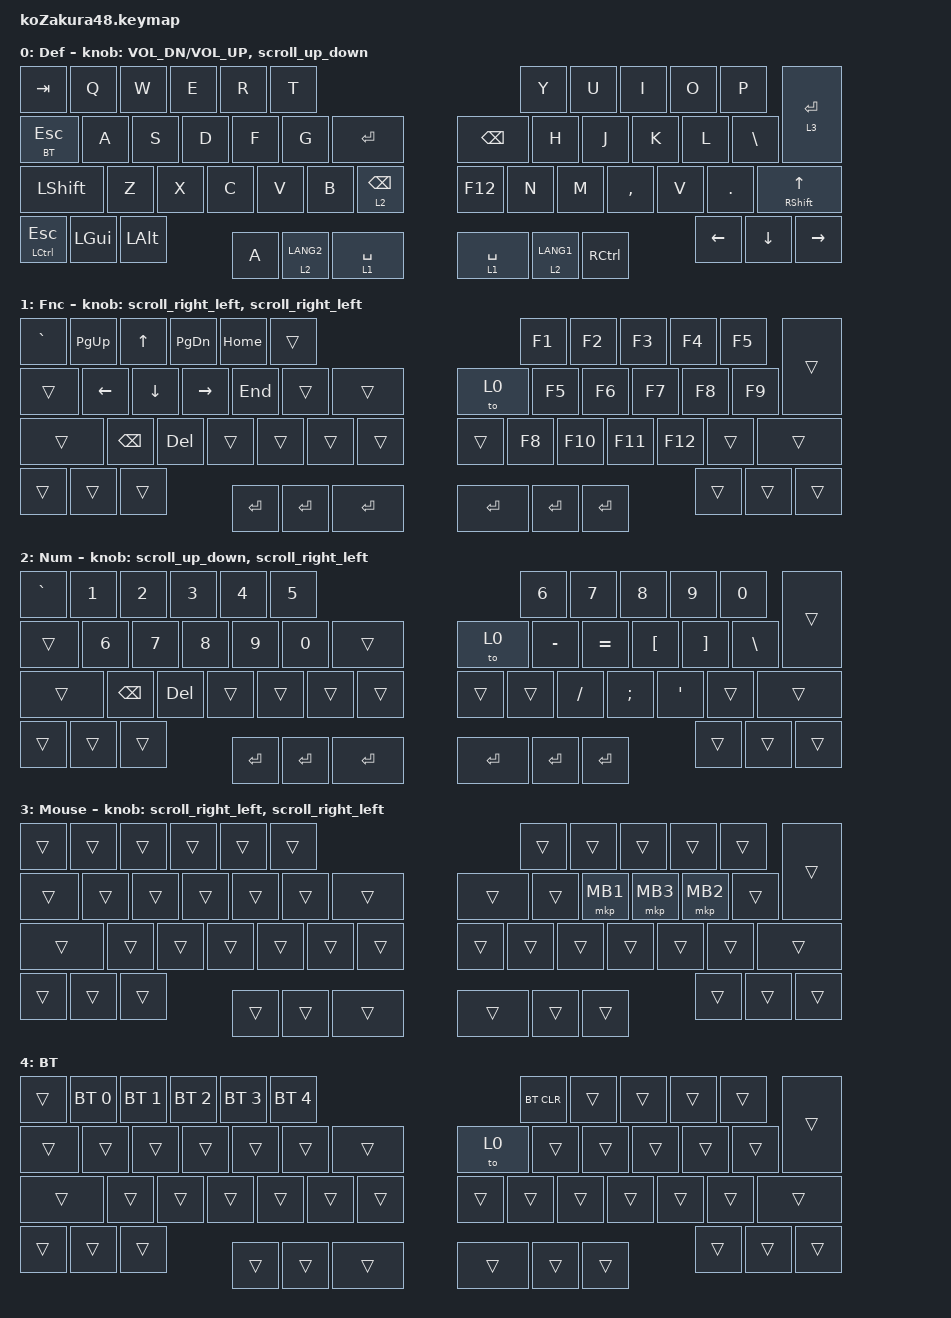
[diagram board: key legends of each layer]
#include <input/processors.dtsi>
#include <dt-bindings/zmk/input_transform.h>
#include <zephyr/dt-bindings/input/input-event-codes.h>
#include <behaviors.dtsi>
#include <dt-bindings/zmk/bt.h>
#include <dt-bindings/zmk/keys.h>
#include <dt-bindings/zmk/pointing.h>

#define ZMK_POINTING_DEFAULT_SCRL_VAL 100
#define DEF 0
#define FUNC 1
#define NUM 2
#define BT 3

&mt {
    flavor = "balanced";
    quick-tap-ms = <0>;
};

/ {
    macros {
        to_layer_0: to_layer_0 {
            compatible = "zmk,behavior-macro-one-param";
            #binding-cells = <1>;
            bindings = <&to 0 &macro_param_1to1 &kp MACRO_PLACEHOLDER>;
            label = "TO_LAYER_0";
        };
    };

    behaviors {
        lt_to_layer_0: lt_to_layer_0 {
            compatible = "zmk,behavior-hold-tap";
            label = "LAYER_TAP_TO_0";
            bindings = <&mo>, <&to_layer_0>;

            #binding-cells = <2>;
            tapping-term-ms = <200>;
        };

        mo_tog: mo_tog {
            compatible = "zmk,behavior-hold-tap";
            label = "MO_TOG";
            #binding-cells = <2>;
            flavor = "hold-preferred";
            tapping-term-ms = <200>;
            bindings = <&mo>, <&tog>;
        };

        scroll_up_down: mouse_wheel_up_down {
            compatible = "zmk,behavior-sensor-rotate";
            #sensor-binding-cells = <0>;
            bindings = <&msc SCRL_DOWN>, <&msc SCRL_UP>;

            tap-ms = <20>;
        };

        scroll_right_left: mouse_wheel_right_left {
            compatible = "zmk,behavior-sensor-rotate";
            #sensor-binding-cells = <0>;
            bindings = <&msc SCRL_LEFT>, <&msc SCRL_RIGHT>;

            tap-ms = <20>;
        };
    };

    keymap {
        compatible = "zmk,keymap";

        default_layer {
            label = "Def";
            bindings = <
&kp TAB        &kp Q     &kp W     &kp E  &kp R        &kp T                         &kp Y          &kp U      &kp I     &kp O      &kp P      &lt 3 ENTER
&mt BT ESC     &kp A     &kp S     &kp D  &kp F        &kp G        &kp ENTER        &kp BACKSPACE  &kp H      &kp J     &kp K      &kp L      &kp BSLH
&kp LSHIFT     &kp Z     &kp X     &kp C  &kp V        &kp B        &lt 2 BACKSPACE  &kp F12        &kp N      &kp M     &kp COMMA  &kp V      &kp DOT      &mt RSHIFT UP
&mt LCTRL ESC  &kp LGUI  &kp LALT  &kp A  &lt 2 LANG2  &lt 1 SPACE  &lt 1 SPACE      &lt 2 LANG1    &kp RCTRL  &kp LEFT  &kp DOWN   &kp RIGHT
            >;

            sensor-bindings =
                <&inc_dec_kp C_VOL_DN C_VOL_UP>,
                <&scroll_up_down>;
 //ロータリーエンコーダでボリューム調整
        };

        Function {
            label = "Fnc";
            bindings = <
&kp GRAVE  &kp PG_UP      &kp UP    &kp PG_DN  &kp HOME   &trans                &kp F1     &kp F2     &kp F3   &kp F4   &kp F5   &trans
&trans     &kp LEFT       &kp DOWN  &kp RIGHT  &kp END    &trans     &trans     &to 0      &kp F5     &kp F6   &kp F7   &kp F8   &kp F9
&trans     &kp BACKSPACE  &kp DEL   &trans     &trans     &trans     &trans     &trans     &kp F8     &kp F10  &kp F11  &kp F12  &trans  &trans
&trans     &trans         &trans    &kp ENTER  &kp ENTER  &kp ENTER  &kp ENTER  &kp ENTER  &kp ENTER  &trans   &trans   &trans
            >;

            sensor-bindings = <&scroll_right_left>, <&scroll_right_left>;
        };

        Number {
            label = "Num";
            bindings = <
&kp GRAVE  &kp N1         &kp N2   &kp N3     &kp N4     &kp N5                &kp N6     &kp N7     &kp N8     &kp N9    &kp N0    &trans
&trans     &kp N6         &kp N7   &kp N8     &kp N9     &kp N0     &trans     &to 0      &kp MINUS  &kp EQUAL  &kp LBKT  &kp RBKT  &kp BSLH
&trans     &kp BACKSPACE  &kp DEL  &trans     &trans     &trans     &trans     &trans     &trans     &kp FSLH   &kp SEMI  &kp SQT   &trans    &trans
&trans     &trans         &trans   &kp ENTER  &kp ENTER  &kp ENTER  &kp ENTER  &kp ENTER  &kp ENTER  &trans     &trans    &trans
            >;

            sensor-bindings = <&scroll_up_down>, <&scroll_right_left>;
        };

        Mouse {
            bindings = <
&trans  &trans  &trans  &trans  &trans  &trans          &trans  &trans  &trans    &trans    &trans    &trans
&trans  &trans  &trans  &trans  &trans  &trans  &trans  &trans  &trans  &mkp MB1  &mkp MB3  &mkp MB2  &trans
&trans  &trans  &trans  &trans  &trans  &trans  &trans  &trans  &trans  &trans    &trans    &trans    &trans  &trans
&trans  &trans  &trans  &trans  &trans  &trans  &trans  &trans  &trans  &trans    &trans    &trans
            >;

            sensor-bindings = <&scroll_right_left>, <&scroll_right_left>;

            label = "Mouse";
        };

        BT {
            bindings = <
&trans  &bt BT_SEL 0  &bt BT_SEL 1  &bt BT_SEL 2  &bt BT_SEL 3  &bt BT_SEL 4          &bt BT_CLR  &trans  &trans  &trans  &trans  &trans
&trans  &trans        &trans        &trans        &trans        &trans        &trans  &to 0       &trans  &trans  &trans  &trans  &trans
&trans  &trans        &trans        &trans        &trans        &trans        &trans  &trans      &trans  &trans  &trans  &trans  &trans  &trans
&trans  &trans        &trans        &trans        &trans        &trans        &trans  &trans      &trans  &trans  &trans  &trans
            >;

            label = "BT";
        };
    };

    // //right hand trackball overrides
    // &trackball_peripheral_listener {
    //     input-processors =
    //         <&zip_xy_transform INPUT_TRANSFORM_XY_SWAP>,//this gets it to the default installation orientation
    //         <&zip_temp_layer 3 500>;//activate layer 3 within 500ms of the trackball moving
    // };
    // //left hand trackball overrides
    // &trackball_central_listener {
    //     input-processors = 
    //         <&zip_xy_transform INPUT_TRANSFORM_XY_SWAP>,//this gets it to the default installation orientation
    //         <&zip_xy_scaler 1 3>,//multiply sensitivity by 1, divide by 3 (make it slower for scrolling)
    //         <&zip_xy_to_scroll_mapper>,//make this trackball output scrolling events by default instead of cursor movement
    //         <&zip_scroll_transform INPUT_TRANSFORM_Y_INVERT>;//invert vertical scrolling so that the view moves in the same direction as the top of the trackball.
    // };
};
